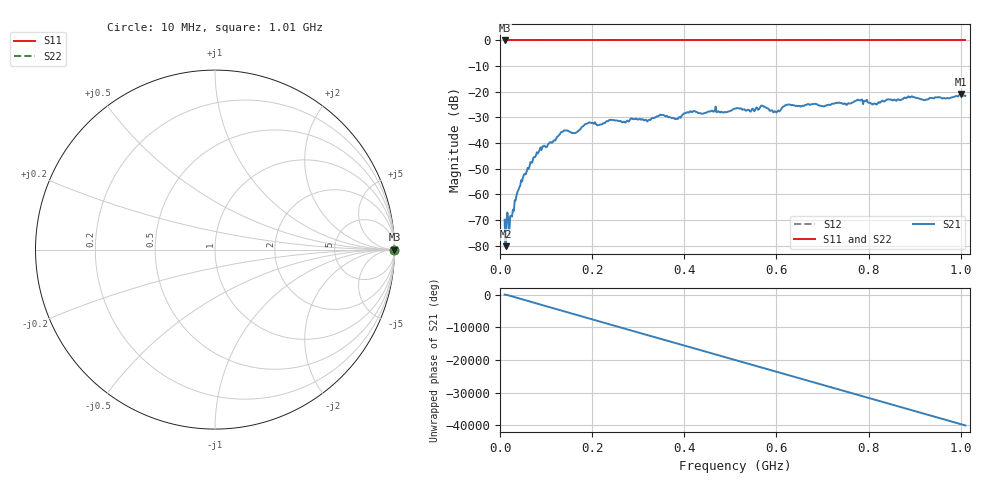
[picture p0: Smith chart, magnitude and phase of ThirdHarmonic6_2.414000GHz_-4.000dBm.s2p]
! 8/17/2025 4:04:05 AM
! C:\ANRITSUVNA\TEMP\TEMP.S2P
! CHANNEL.1
! TR.MEASUREMENT
! RAW.DATA
! RF.CORRECTION.OFF
! AVERAGING.OFF
! IF.BANDWIDTH: 5KHZ
! SWEEPTYPE:  FREQ.SWEEP(Linear)
! Reference Plane Port Info
! PORT:  PORT1  PORT2
! DISTANCE:  0  m  0  m
! TIME:  0  s  0  s
! PHASE.OFFSET:  0  deg.  0  deg.
! LOSS:  0  dB  0  dB
! REF.LOSS:  0  dB  0  dB
! REF.FREQ:  0  Hz  0  Hz
! Power Info
! POWER:  -20  dBm  -20  dBm
! EFF.POWER:  -20  dBm  -20  dBm
! SOURCE.ATTEN:  0  dB  0  dB
! TEST.ATTEN:  0  dB  0  dB
# GHZ S RI R 50.0
! FREQ.GHZ  S11RE  S11IM  S21RE  S21IM  S12RE  S12IM  S22RE  S22IM
!; PortSelection: Port_12
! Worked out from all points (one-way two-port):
!   501 points, 10 MHz to 1.01 GHz, reference 50 ohm
!   highest |S21| = -20.88 dB at 1 GHz (marker M1); lowest = -80.2 dB at 12 MHz (marker M2)
!   lowest |S11| = 0.0 dB at 10 MHz (marker M3)
!   |S11| at or under -10 dB: nowhere
!   |S22| runs from 0.0 to 0.0 dB; largest |S21 - S12| = 1.1
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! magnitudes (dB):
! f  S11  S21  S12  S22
! 10 MHz  0.0  -69.9  0.0  0.0
! 12 MHz  0.0  -80.2  0.0  0.0
! 16 MHz  0.0  -67.1  0.0  0.0
! 18 MHz  0.0  -70.0  0.0  0.0
! 24 MHz  0.0  -68.3  0.0  0.0
! 36 MHz  0.0  -60.3  0.0  0.0
! 50 MHz  0.0  -53.3  0.0  0.0
! 84 MHz  0.0  -43.5  0.0  0.0
! 136 MHz  0.0  -35.6  0.0  0.0
! 162 MHz  0.0  -36.1  0.0  0.0
! 178 MHz  0.0  -33.7  0.0  0.0
! 344 MHz  0.0  -29.5  0.0  0.0
! 382 MHz  0.0  -30.6  0.0  0.0
! 410 MHz  0.0  -28.1  0.0  0.0
! 510 MHz  0.0  -26.6  0.0  0.0
! 570 MHz  0.0  -25.5  0.0  0.0
! 598 MHz  0.0  -27.8  0.0  0.0
! 624 MHz  0.0  -25.1  0.0  0.0
! 678 MHz  0.0  -24.8  0.0  0.0
! 844 MHz  0.0  -23.0  0.0  0.0
! 1 GHz  0.0  -20.9  0.0  0.0
! 1.01 GHz  0.0  -21.6  0.0  0.0
